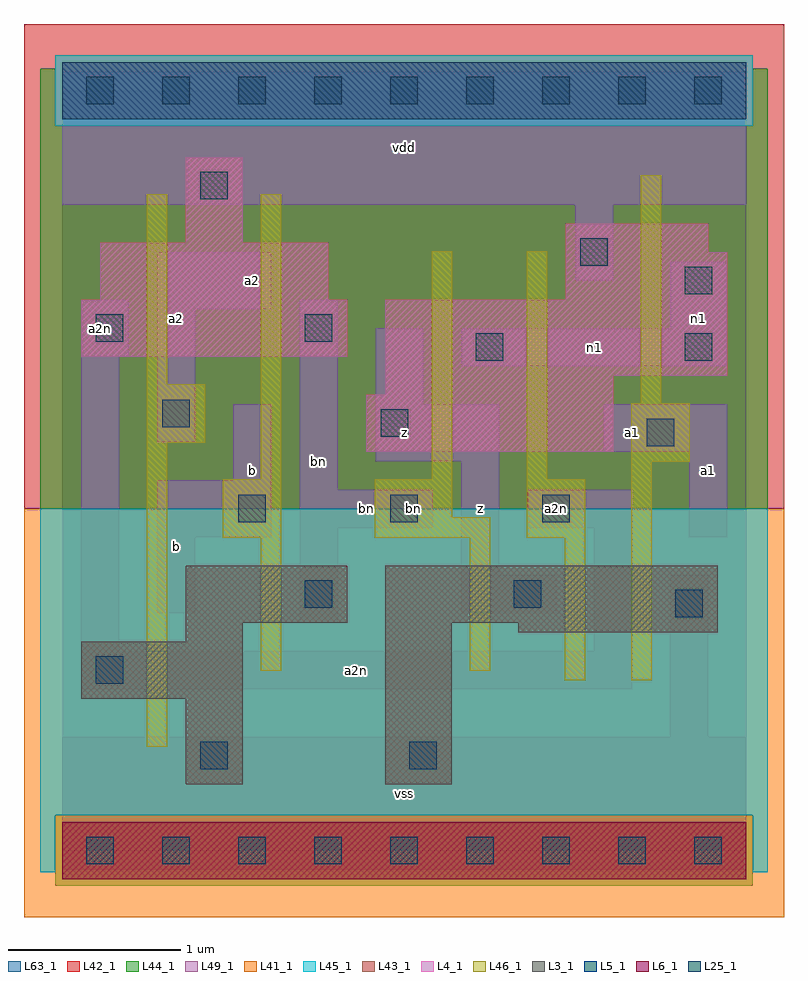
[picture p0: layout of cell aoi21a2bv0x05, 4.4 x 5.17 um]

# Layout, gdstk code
import gdstk
lib = gdstk.Library(unit=1e-6, precision=1e-09)
def R(c, l, rs):  # rectangles x0, y0, x1, y1
    for r in rs: c.add(gdstk.rectangle(r[:2], r[2:], *l))
def A(c, l, x, y, w, h, nx, ny, dx, dy):  # array of equal rectangles
    R(c, l, [(x+i*dx, y+j*dy, x+i*dx+w, y+j*dy+h) for i in range(nx) for j in range(ny)])
L3_1 = (3, 1)
L4_1 = (4, 1)
L5_1 = (5, 1)
L6_1 = (6, 1)
L25_1 = (25, 1)
L41_1 = (41, 1)
L42_1 = (42, 1)
L43_1 = (43, 1)
L44_1 = (44, 1)
L45_1 = (45, 1)
L46_1 = (46, 1)
L49_1 = (49, 1)
L63_1 = (63, 1)

aoi21a2bv0x05 = lib.new_cell('aoi21a2bv0x05')
R(aoi21a2bv0x05, L3_1, [(0.715,0.385,1.045,0.88), (1.87,0.385,2.255,1.32), (0.11,0.88,1.045,1.21), (0.715,1.21,1.045,1.32), (2.64,1.265,3.795,1.32), (0.715,1.32,1.65,1.65), (1.87,1.32,3.795,1.65)])
R(aoi21a2bv0x05, L4_1, [(1.76,2.31,3.19,2.64), (1.87,2.64,3.19,2.75), (1.87,2.75,3.85,3.19), (0.11,2.86,1.65,3.19), (0.22,3.19,1.54,3.52), (2.915,3.19,3.85,3.465), (2.915,3.465,3.74,3.63), (0.715,3.52,1.045,4.015)])
R(aoi21a2bv0x05, L5_1, [(0,4.235,3.96,4.565)])
R(aoi21a2bv0x05, L6_1, [(0,-0.165,3.96,0.165)])
A(aoi21a2bv0x05, L25_1, 0.14, -0.08, 0.16, 0.16, 9, 2, 0.44, 4.4)
A(aoi21a2bv0x05, L25_1, 1.02, 1.9, 0.16, 0.16, 3, 1, 0.88, 0)
R(aoi21a2bv0x05, L25_1, [(0.8,0.47,0.96,0.63), (2.01,0.47,2.17,0.63), (0.195,0.965,0.355,1.125), (3.55,1.35,3.71,1.51), (1.405,1.405,1.565,1.565), (2.615,1.405,2.775,1.565), (3.385,2.34,3.545,2.5), (1.845,2.395,2.005,2.555), (0.58,2.45,0.74,2.61), (2.395,2.835,2.555,2.995), (3.605,2.835,3.765,2.995), (0.195,2.945,0.355,3.105), (1.405,2.945,1.565,3.105), (3.605,3.22,3.765,3.38), (3,3.385,3.16,3.545), (0.8,3.77,0.96,3.93)])
R(aoi21a2bv0x05, L41_1, [(-0.22,-0.385,4.18,1.98)])
R(aoi21a2bv0x05, L42_1, [(-0.22,1.98,4.18,4.785)])
R(aoi21a2bv0x05, L43_1, [(0,-0.165,3.96,0.165), (0.715,0.385,1.045,0.88), (1.87,0.385,2.255,1.32), (0.11,0.88,1.045,1.21), (0.715,1.21,1.045,1.32), (2.64,1.265,3.795,1.32), (0.715,1.32,1.65,1.65), (1.87,1.32,3.795,1.65), (1.76,2.31,3.19,2.64), (1.87,2.64,3.19,2.75), (1.87,2.75,3.85,3.19), (0.11,2.86,1.65,3.19), (0.22,3.19,1.54,3.52), (2.915,3.19,3.85,3.465), (2.915,3.465,3.74,3.63), (0.715,3.52,1.045,4.015), (0,4.235,3.96,4.565)])
R(aoi21a2bv0x05, L44_1, [(-0.04,-0.205,4,0.205), (-0.125,1.98,4.085,4.195), (-0.125,4.195,-0.04,4.525), (4,4.195,4.085,4.525)])
R(aoi21a2bv0x05, L45_1, [(-0.125,-0.125,-0.04,0.205), (4,-0.125,4.085,0.205), (-0.125,0.205,4.085,1.98), (-0.04,4.195,4,4.605)])
R(aoi21a2bv0x05, L46_1, [(0.49,0.6,0.61,2.36), (2.91,0.985,3.03,1.81), (3.295,0.985,3.415,2.25), (1.15,1.04,1.27,1.81), (2.36,1.04,2.48,1.81), (0.93,1.81,1.27,2.15), (1.81,1.81,2.48,1.93), (2.69,1.81,3.03,2.15), (1.81,1.93,2.26,2.15), (1.15,2.15,1.27,3.8), (2.14,2.15,2.26,3.47), (2.69,2.15,2.81,3.47), (3.295,2.25,3.635,2.59), (0.49,2.36,0.83,2.7), (3.35,2.59,3.47,3.91), (0.49,2.7,0.61,3.8)])
R(aoi21a2bv0x05, L49_1, [(0,-0.11,3.96,0.66), (3.52,0.66,3.74,1.595), (0.11,0.935,3.3,1.155), (0.11,1.155,0.33,2.86), (3.08,1.155,3.3,1.87), (1.375,1.32,1.595,1.87), (0.55,1.375,0.77,1.815), (2.31,1.375,2.86,1.595), (2.31,1.595,2.53,2.255), (0.55,1.815,1.21,2.145), (3.63,1.815,3.85,2.31), (1.375,1.87,2.145,2.09), (2.695,1.87,3.3,2.09), (1.375,2.09,1.595,3.19), (0.99,2.145,1.21,2.585), (1.815,2.255,2.53,2.585), (3.135,2.31,3.85,2.585), (0.55,2.365,0.77,3.135), (1.815,2.585,2.09,3.025), (2.31,2.805,3.85,3.025), (0.11,2.86,0.385,3.19), (3.52,3.025,3.85,3.41), (0.55,3.135,1.21,3.465), (2.97,3.3,3.19,3.74), (0,3.74,3.96,4.51)])
R(aoi21a2bv0x05, L63_1, [(0,0,3.96,4.4)])
aoi21a2bv0x05.add(gdstk.Label('bn', (2.035,1.98), layer=49, texttype=1))
aoi21a2bv0x05.add(gdstk.Label('a2n', (2.86,1.98), layer=49, texttype=1))
aoi21a2bv0x05.add(gdstk.Label('a2n', (0.22,3.025), layer=49, texttype=1))
aoi21a2bv0x05.add(gdstk.Label('b', (0.66,1.76), layer=49, texttype=1))
aoi21a2bv0x05.add(gdstk.Label('b', (1.1,2.2), layer=49, texttype=1))
aoi21a2bv0x05.add(gdstk.Label('a2', (0.66,3.08), layer=49, texttype=1))
aoi21a2bv0x05.add(gdstk.Label('a2', (1.1,3.3), layer=49, texttype=1))
aoi21a2bv0x05.add(gdstk.Label('vss', (1.98,0.33), layer=49, texttype=1))
aoi21a2bv0x05.add(gdstk.Label('bn', (1.76,1.98), layer=49, texttype=1))
aoi21a2bv0x05.add(gdstk.Label('z', (1.98,2.42), layer=49, texttype=1))
aoi21a2bv0x05.add(gdstk.Label('bn', (1.485,2.255), layer=49, texttype=1))
aoi21a2bv0x05.add(gdstk.Label('vdd', (1.98,4.07), layer=49, texttype=1))
aoi21a2bv0x05.add(gdstk.Label('z', (2.42,1.98), layer=49, texttype=1))
aoi21a2bv0x05.add(gdstk.Label('a2n', (1.705,1.045), layer=49, texttype=1))
aoi21a2bv0x05.add(gdstk.Label('a1', (3.3,2.42), layer=49, texttype=1))
aoi21a2bv0x05.add(gdstk.Label('a2n', (2.97,1.98), layer=49, texttype=1))
aoi21a2bv0x05.add(gdstk.Label('a1', (3.74,2.2), layer=49, texttype=1))
aoi21a2bv0x05.add(gdstk.Label('n1', (3.08,2.915), layer=49, texttype=1))
aoi21a2bv0x05.add(gdstk.Label('n1', (3.685,3.08), layer=49, texttype=1))

lib.write_gds('aoi21a2bv0x05.gds')
